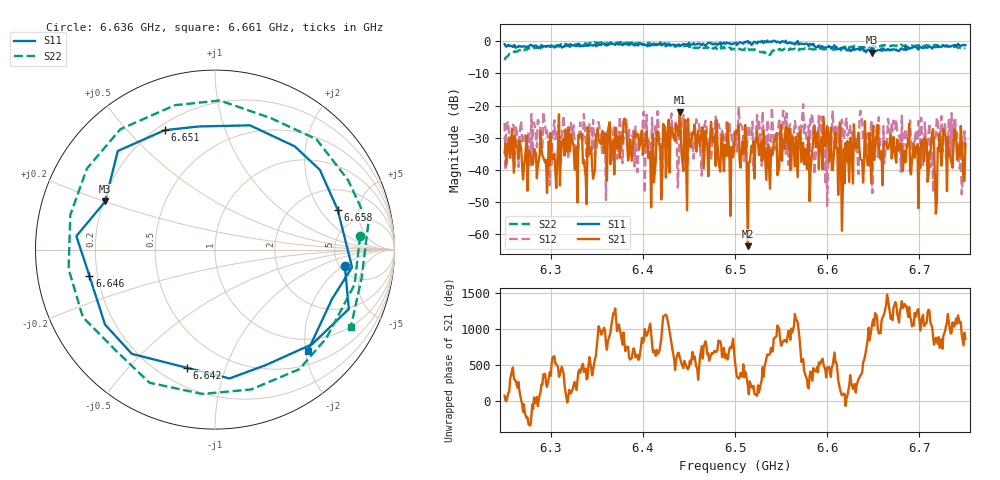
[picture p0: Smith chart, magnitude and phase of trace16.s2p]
# Hz S RI R 50
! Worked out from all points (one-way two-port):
!   401 points, 6.25 GHz to 6.75 GHz, reference 50 ohm
!   highest |S21| = -21.97 dB at 6.44 GHz (marker M1); lowest = -63.6 dB at 6.514 GHz (marker M2)
!   lowest |S11| = -3.5 dB at 6.649 GHz (marker M3), VSWR 5.02, Z = 10.4 + j10 ohm
!   |S11| at or under -10 dB: nowhere
!   |S22| runs from -5.8 to -0.1 dB; largest |S21 - S12| = 0.11
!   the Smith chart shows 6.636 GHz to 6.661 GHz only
!   S11 on the Smith chart (normalised r, x): 6.636 GHz: 5.52, -2.15; 6.642 GHz: 0.31, -0.74; 6.646 GHz: 0.17, -0.10; 6.651 GHz: 0.23, +0.64; 6.658 GHz: 3.22, +2.97; 6.661 GHz: 0.74, -2.04
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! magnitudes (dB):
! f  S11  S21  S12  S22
! 6.25 GHz  -0.9  -34.5  -25.3  -5.8
! 6.334 GHz  -1.3  -28.9  -31.5  -0.8
! 6.358 GHz  -0.7  -34.7  -33.8  -0.5
! 6.418 GHz  -1.0  -32.4  -30.9  -0.7
! 6.44 GHz  -1.6  -22.0  -24.8  -1.2
! 6.496 GHz  -0.9  -32.8  -28.9  -2.6
! 6.5 GHz  -0.6  -29.1  -30.2  -2.6
! 6.514 GHz  0.1  -63.6  -29.0  -2.3
! 6.556 GHz  -0.6  -27.1  -22.4  -2.6
! 6.584 GHz  -1.2  -33.6  -23.3  -2.5
! 6.594 GHz  -1.5  -29.9  -23.4  -2.4
! 6.6 GHz  -1.8  -26.3  -51.1  -2.4
! 6.609 GHz  -2.2  -28.2  -26.5  -2.7
! 6.636 GHz  -2.7  -36.5  -21.6  -1.8
! 6.642 GHz  -3.4  -34.1  -30.9  -1.9
! 6.646 GHz  -2.9  -28.4  -31.4  -1.6
! 6.649 GHz  -3.5  -31.7  -47.1  -1.6
! 6.651 GHz  -2.8  -36.9  -30.9  -1.4
! 6.658 GHz  -2.9  -36.6  -37.2  -1.5
! 6.661 GHz  -2.3  -33.6  -26.4  -1.2
! 6.668 GHz  -2.9  -31.3  -27.8  -1.5
! 6.75 GHz  -1.2  -31.9  -33.3  -2.3
